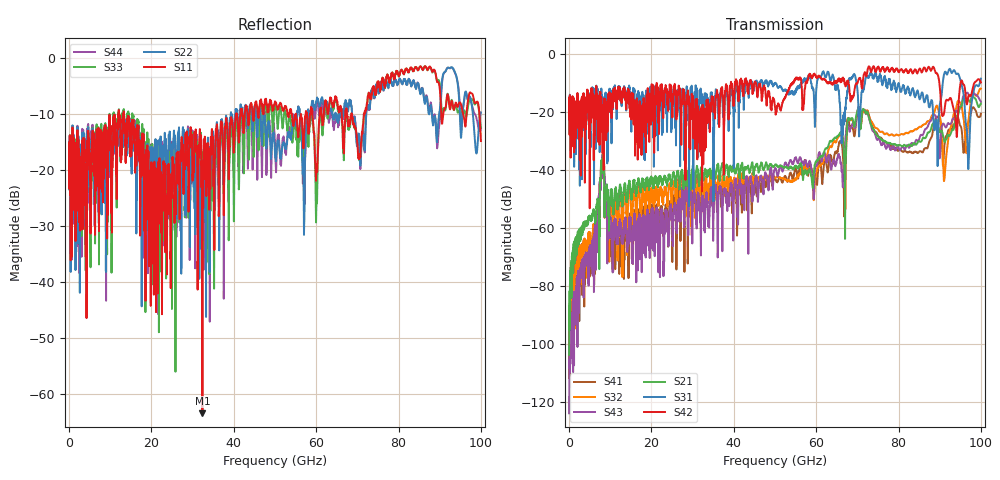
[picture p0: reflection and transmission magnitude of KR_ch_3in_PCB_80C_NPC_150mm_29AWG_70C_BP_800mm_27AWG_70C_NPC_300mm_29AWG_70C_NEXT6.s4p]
# GHz S RI R 45
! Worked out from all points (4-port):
!   4000 points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, 25 MHz to 100 GHz, reference 45 ohm
!   strongest paths, dB at 25 MHz, 25.02 GHz, 50.02 GHz, 75.03 GHz, 100 GHz:
!     S42: -20.7, -17.7, -18.0, -4.4, -9.7
!     S31: -20.7, -20.8, -10.2, -8.7, -8.4
!     S21: -103.9, -43.6, -38.1, -28.3, -17.0
!     S43: -124.1, -58.9, -39.3, -29.4, -16.4
!     S32: -108.7, -52.0, -42.7, -25.9, -11.9
!     S41: -111.9, -69.1, -43.0, -28.1, -20.5
!   lowest |S11| = -63.4 dB at 32.38 GHz (marker M1), VSWR 1.00, Z = 45.1 + j0.0134 ohm
!   |S11| at or under -10 dB: start of sweep to 12.06 GHz; 13.32 GHz to 40.54 GHz (27.22 GHz wide, 101 % of centre); 68.65 GHz to 71.57 GHz (2.922 GHz wide, 4.17 % of centre) (the widest 3 of 29)
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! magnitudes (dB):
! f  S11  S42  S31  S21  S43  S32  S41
! 25 MHz  -16.6  -20.7  -20.7  -103.9  -124.1  -108.7  -111.9
! 8.025 GHz  -23.7  -25.3  -21.0  -41.0  -37.9  -39.5  -38.4
! 11.7 GHz  -14.2  -12.9  -13.9  -53.5  -61.0  -58.3  -61.8
! 32.38 GHz  -63.4  -23.4  -21.9  -41.8  -49.2  -42.7  -44.6
! 91.25 GHz  -9.0  -18.3  -6.1  -30.2  -24.8  -41.2  -30.2
! 96.85 GHz  -7.7  -15.3  -36.0  -15.2  -13.4  -24.4  -23.8
! 100 GHz  -14.8  -9.7  -8.4  -17.0  -16.4  -11.9  -20.5
